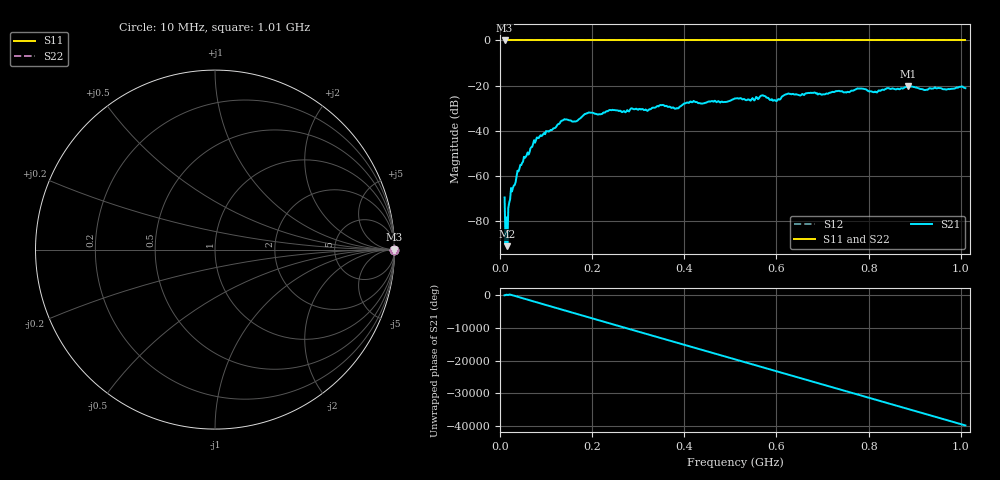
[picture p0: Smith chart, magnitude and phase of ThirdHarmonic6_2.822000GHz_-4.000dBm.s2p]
! 8/17/2025 7:28:21 AM
! C:\ANRITSUVNA\TEMP\TEMP.S2P
! CHANNEL.1
! TR.MEASUREMENT
! RAW.DATA
! RF.CORRECTION.OFF
! AVERAGING.OFF
! IF.BANDWIDTH: 5KHZ
! SWEEPTYPE:  FREQ.SWEEP(Linear)
! Reference Plane Port Info
! PORT:  PORT1  PORT2
! DISTANCE:  0  m  0  m
! TIME:  0  s  0  s
! PHASE.OFFSET:  0  deg.  0  deg.
! LOSS:  0  dB  0  dB
! REF.LOSS:  0  dB  0  dB
! REF.FREQ:  0  Hz  0  Hz
! Power Info
! POWER:  -20  dBm  -20  dBm
! EFF.POWER:  -20  dBm  -20  dBm
! SOURCE.ATTEN:  0  dB  0  dB
! TEST.ATTEN:  0  dB  0  dB
# GHZ S RI R 50.0
! FREQ.GHZ  S11RE  S11IM  S21RE  S21IM  S12RE  S12IM  S22RE  S22IM
!; PortSelection: Port_12
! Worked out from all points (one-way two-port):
!   501 points, 10 MHz to 1.01 GHz, reference 50 ohm
!   highest |S21| = -20.36 dB at 886 MHz (marker M1); lowest = -91.3 dB at 16 MHz (marker M2)
!   lowest |S11| = 0.0 dB at 10 MHz (marker M3)
!   |S11| at or under -10 dB: nowhere
!   |S22| runs from 0.0 to 0.0 dB; largest |S21 - S12| = 1.1
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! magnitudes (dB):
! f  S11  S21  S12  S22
! 10 MHz  0.0  -69.7  0.0  0.0
! 16 MHz  0.0  -91.3  0.0  0.0
! 24 MHz  0.0  -65.5  0.0  0.0
! 40 MHz  0.0  -58.1  0.0  0.0
! 76 MHz  0.0  -45.4  0.0  0.0
! 136 MHz  0.0  -35.5  0.0  0.0
! 164 MHz  0.0  -36.0  0.0  0.0
! 178 MHz  0.0  -33.7  0.0  0.0
! 194 MHz  0.0  -32.0  0.0  0.0
! 318 MHz  0.0  -31.0  0.0  0.0
! 344 MHz  0.0  -29.3  0.0  0.0
! 384 MHz  0.0  -30.0  0.0  0.0
! 416 MHz  0.0  -27.5  0.0  0.0
! 510 MHz  0.0  -25.7  0.0  0.0
! 548 MHz  0.0  -25.6  0.0  0.0
! 570 MHz  0.0  -24.3  0.0  0.0
! 596 MHz  0.0  -26.5  0.0  0.0
! 624 MHz  0.0  -23.7  0.0  0.0
! 678 MHz  0.0  -23.3  0.0  0.0
! 844 MHz  0.0  -21.2  0.0  0.0
! 886 MHz  0.0  -20.4  0.0  0.0
! 1.01 GHz  0.0  -21.2  0.0  0.0
